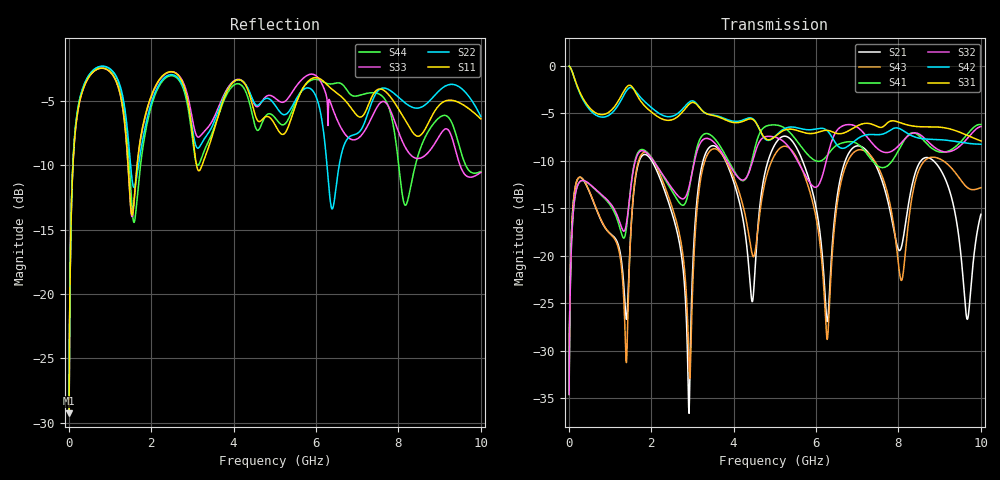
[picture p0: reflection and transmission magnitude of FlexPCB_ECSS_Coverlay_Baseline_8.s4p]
! TOUCHSTONE file generated by CST MICROWAVE STUDIO
! Date and time: Sun Jul  5 19:09:35 2026
! Project name: FlexPCB_ECSS_Coverlay_Baseline.cst
! Parameters = {Gap=0.6; GroundW=5; Hadh=0.025; Hcov=0.025; Hsub=0.1; L=50; Tcu=0.035; W=0.14}
! Header version: 2024
! Port assignment regex: !\s*Touchstone port\s*([0-9]+)\s*=\s*(CST MWS port|CST DES external port|CST DES block port)\s*(.+)\s* \(\"(.*)\"\)(\s*mode\s*([0-9]+))?.*
! Touchstone port assignment:
! Touchstone port 1 = CST MWS port 1 ("")
! Touchstone port 2 = CST MWS port 2 ("")
! Touchstone port 3 = CST MWS port 3 ("")
! Touchstone port 4 = CST MWS port 4 ("")
# GHz S MA R 50
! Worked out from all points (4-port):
!   1002 points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, 10 MHz to 10 GHz, reference 50 ohm
!   strongest paths, dB at 10 MHz, 2.51 GHz, 5.01 GHz, 7.503 GHz, 10 GHz:
!     S31: 0.0, -5.7, -7.4, -6.4, -7.9
!     S42: 0.0, -5.3, -7.4, -7.2, -8.2
!     S32: -34.6, -12.9, -7.5, -8.7, -6.4
!     S41: -34.6, -13.2, -6.2, -10.5, -6.2
!     S43: -33.6, -14.9, -9.3, -10.6, -12.8
!     S21: -33.6, -15.6, -8.2, -11.0, -15.6
!   lowest |S11| = -29.3 dB at 10 MHz (marker M1), VSWR 1.07, Z = 49.8 - j3.43 ohm
!   |S11| at or under -10 dB: start of sweep to 103.1 MHz; 1.44 GHz to 1.659 GHz (218.5 MHz wide, 14.1 % of centre); 3.102 GHz to 3.234 GHz (131.8 MHz wide, 4.16 % of centre)
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0.01  0.0344 -91.0  0.02097 85.4  0.9976 -2.5  0.0186 85.4
      0.02097 85.4  0.03536 -91.1  0.0186 85.4  0.9976 -2.5
      0.9976 -2.5  0.0186 85.4  0.0344 -91.0  0.02097 85.4
      0.0186 85.4  0.9976 -2.5  0.02097 85.4  0.03536 -91.1
0.4  0.6561 -154.9  0.2421 -7.3  0.6462 -58.0  0.2469 -29.1
     0.2421 -7.3  0.6674 -155.0  0.2474 -28.8  0.6345 -58.3
     0.6462 -58.0  0.2474 -28.8  0.6555 -154.7  0.243 -7.8
     0.2469 -29.1  0.6345 -58.3  0.243 -7.8  0.6665 -155.6
1.52  0.2069 163.2  0.1494 68.0  0.7833 -171.1  0.2438 -98.0
      0.1494 68.0  0.2946 152.1  0.2417 -101.7  0.7696 -165.9
      0.7833 -171.1  0.2417 -101.7  0.204 164.2  0.1503 76.2
      0.2438 -98.0  0.7696 -165.9  0.1503 76.2  0.2388 142.0
3.12  0.3078 159.5  0.2048 76.1  0.6221 16.0  0.3771 88.1
      0.2048 76.1  0.3695 166.7  0.3592 82.2  0.6268 14.7
      0.6221 16.0  0.3592 82.2  0.4091 167.4  0.1821 76.6
      0.3771 88.1  0.6268 14.7  0.1821 76.6  0.317 166.6
5.12  0.4244 174.0  0.4159 8.8  0.4444 170.3  0.4844 -153.5
      0.4159 8.8  0.5114 164.7  0.4126 -157.4  0.449 170.2
      0.4444 170.3  0.4126 -157.4  0.5601 170.0  0.3679 11.9
      0.4844 -153.5  0.449 170.2  0.3679 11.9  0.4607 177.3
6.27  0.6505 165.2  0.04503 178.9  0.458 46.4  0.3376 90.4
      0.04503 178.9  0.312 133.5  0.3293 115.2  0.4563 36.3
      0.458 46.4  0.3293 115.2  0.5656 141.3  0.03625 -15.8
      0.3376 90.4  0.4563 36.3  0.03625 -15.8  0.658 168.9
10  0.4795 144.1  0.1653 -7.4  0.4028 -10.4  0.4914 55.8
    0.1653 -7.4  0.4893 143.4  0.4797 50.1  0.3869 -6.4
    0.4028 -10.4  0.4797 50.1  0.2972 176.1  0.2285 71.8
    0.4914 55.8  0.3869 -6.4  0.2285 71.8  0.2994 169.8
